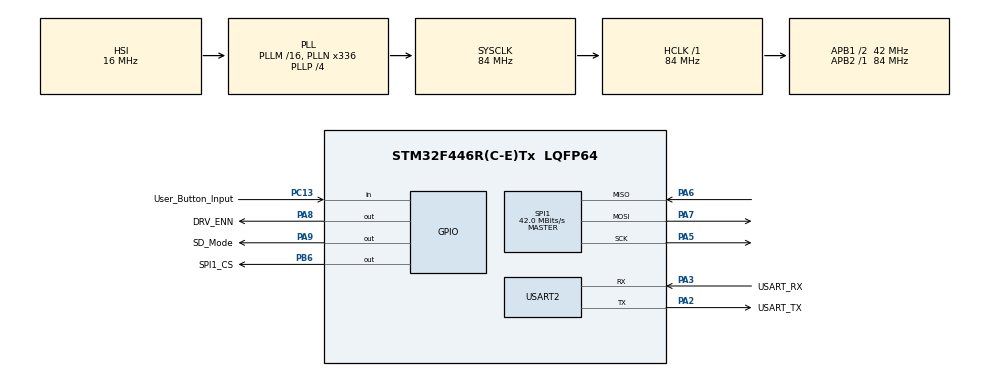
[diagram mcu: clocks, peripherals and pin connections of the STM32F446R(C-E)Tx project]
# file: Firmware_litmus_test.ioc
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Mcu.Family=STM32F4
Mcu.Name=STM32F446R(C-E)Tx
Mcu.Package=LQFP64
NVIC.PriorityGroup=NVIC_PRIORITYGROUP_0
PA13.GPIO_Label=TMS
PA13.Mode=Serial_Wire
PA13.Signal=SYS_JTMS-SWDIO
PA14.GPIO_Label=TCK
PA14.Mode=Serial_Wire
PA14.Signal=SYS_JTCK-SWCLK
PA2.GPIO_Label=USART_TX
PA2.Mode=Asynchronous
PA2.Signal=USART2_TX
PA3.GPIO_Label=USART_RX
PA3.Mode=Asynchronous
PA3.Signal=USART2_RX
PA5.Mode=Full_Duplex_Master
PA5.Signal=SPI1_SCK
PA6.Mode=Full_Duplex_Master
PA6.Signal=SPI1_MISO
PA7.Mode=Full_Duplex_Master
PA7.Signal=SPI1_MOSI
PA8.GPIO_Label=DRV_ENN
PA8.Signal=GPIO_Output
PA9.GPIO_Label=SD_Mode
PA9.Signal=GPIO_Output
PB3.GPIO_Label=SWO
PB3.Signal=SYS_JTDO-SWO
PB6.GPIO_Label=SPI1_CS
PB6.Signal=GPIO_Output
PC13.GPIO_Label=User_Button_Input
PC13.Signal=GPIO_Input
PC14-OSC32_IN.Mode=LSE-External-Oscillator
PC14-OSC32_IN.Signal=RCC_OSC32_IN
PC15-OSC32_OUT.Mode=LSE-External-Oscillator
PC15-OSC32_OUT.Signal=RCC_OSC32_OUT
PH0-OSC_IN.Mode=HSE-External-Oscillator
PH0-OSC_IN.Signal=RCC_OSC_IN
PH1-OSC_OUT.Mode=HSE-External-Oscillator
PH1-OSC_OUT.Signal=RCC_OSC_OUT
ProjectManager.HeapSize=0x200
ProjectManager.StackSize=0x400
ProjectManager.TargetToolchain=STM32CubeIDE
RCC.48MHZClocksFreq_Value=84000000
RCC.AHBFreq_Value=84000000
RCC.APB1CLKDivider=RCC_HCLK_DIV2
RCC.APB1Freq_Value=42000000
RCC.APB1TimFreq_Value=84000000
RCC.APB2Freq_Value=84000000
RCC.APB2TimFreq_Value=84000000
RCC.CortexFreq_Value=84000000
RCC.FLatency-AdvancedSettings=FLASH_LATENCY_2
RCC.HCLKFreq_Value=84000000
RCC.HSE_VALUE=8000000
RCC.HSI_VALUE=16000000
RCC.PLLN=336
RCC.PLLP=RCC_PLLP_DIV4
RCC.SYSCLKFreq_VALUE=84000000
RCC.SYSCLKSource=RCC_SYSCLKSOURCE_PLLCLK
RCC.USBFreq_Value=168000000
RCC.VCOOutputFreq_Value=336000000
SPI1.CLKPhase=SPI_PHASE_2EDGE
SPI1.CLKPolarity=SPI_POLARITY_HIGH
SPI1.CalculateBaudRate=42.0 MBits/s
SPI1.Direction=SPI_DIRECTION_2LINES
SPI1.Mode=SPI_MODE_MASTER
SPI1.VirtualType=VM_MASTER
USART2.VirtualMode=VM_ASYNC
board=NUCLEO-F446RE

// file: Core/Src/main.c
/* USER CODE BEGIN Header */
/**
  ******************************************************************************
  * @file           : main.c
  * @brief          : Main program body
  ******************************************************************************
  * @attention
  *
  * Copyright (c) 2025 STMicroelectronics.
  * All rights reserved.
  *
  * This software is licensed under terms that can be found in the LICENSE file
  * in the root directory of this software component.
  * If no LICENSE file comes with this software, it is provided AS-IS.
  *
  ******************************************************************************
  */
/* USER CODE END Header */
#include "main.h"

/* USER CODE BEGIN Includes */
#include "api_motor_driver_tmc5160.h"
#include "api_motor_driver.h"
/* USER CODE END Includes */

SPI_HandleTypeDef hspi1;

UART_HandleTypeDef huart2;

/* USER CODE BEGIN PV */

typedef enum {
    	e_app_motor_state_idle = 0,
    	e_app_motor_state_initialize_motor,
	e_app_motor_state_check_button,
    	e_app_motor_state_set_mode,
	e_app_motor_state_set_velocity_1_300_CW,
    	e_app_motor_state_set_velocity_2_500_CCW,
	e_app_motor_state_set_velocity_3_0,
	e_app_motor_state_error
} e_app_motor_state_t;

static const s_api_motor_driver_t * p_motor_driver = NULL;
static s_api_motor_driver_tmc5160_t g_motor_driver;
static int current_speed_step = 0; // 0 = stop, 1 = 300rpm CW, 2 = 500rpm CCW
static GPIO_PinState last_button_state = GPIO_PIN_SET;
/* USER CODE END PV */

void SystemClock_Config(void);
static void MX_GPIO_Init(void);
static void MX_USART2_UART_Init(void);
static void MX_SPI1_Init(void);

int main(void)
{

  /* MCU Configuration--------------------------------------------------------*/

  /* Reset of all peripherals, Initializes the Flash interface and the Systick. */
  HAL_Init();

  /* Configure the system clock */
  SystemClock_Config();

  /* Initialize all configured peripherals */
  MX_GPIO_Init();
  MX_USART2_UART_Init();
  MX_SPI1_Init();
  /* USER CODE BEGIN 2 */
  // Construct the motor driver instance
  p_motor_driver = api_motor_driver_tmc5160_try_construct(&g_motor_driver,
                                                          &hspi1,
														  e_api_motor_driver_tmc5160_IHOLD_1_32,
														  e_api_motor_driver_tmc5160_IRUN_32_32,
														  e_api_motor_driver_tmc5160_IHOLDDELAY_10);

  /* USER CODE END 2 */

  /* Infinite loop */
  while (1)
  {
     Firmware_Litmus_Test();
  }
}

void SystemClock_Config(void)
{
  RCC_OscInitTypeDef RCC_OscInitStruct = {0};
  RCC_ClkInitTypeDef RCC_ClkInitStruct = {0};

  /** Configure the main internal regulator output voltage
  */
  __HAL_RCC_PWR_CLK_ENABLE();
  __HAL_PWR_VOLTAGESCALING_CONFIG(PWR_REGULATOR_VOLTAGE_SCALE3);

  /** Initializes the RCC Oscillators according to the specified parameters
  * in the RCC_OscInitTypeDef structure.
  */
  RCC_OscInitStruct.OscillatorType = RCC_OSCILLATORTYPE_HSI;
  RCC_OscInitStruct.HSIState = RCC_HSI_ON;
  RCC_OscInitStruct.HSICalibrationValue = RCC_HSICALIBRATION_DEFAULT;
  RCC_OscInitStruct.PLL.PLLState = RCC_PLL_ON;
  RCC_OscInitStruct.PLL.PLLSource = RCC_PLLSOURCE_HSI;
  RCC_OscInitStruct.PLL.PLLM = 16;
  RCC_OscInitStruct.PLL.PLLN = 336;
  RCC_OscInitStruct.PLL.PLLP = RCC_PLLP_DIV4;
  RCC_OscInitStruct.PLL.PLLQ = 2;
  RCC_OscInitStruct.PLL.PLLR = 2;
  if (HAL_RCC_OscConfig(&RCC_OscInitStruct) != HAL_OK)
  {
    Error_Handler();
  }

  /** Initializes the CPU, AHB and APB buses clocks
  */
  RCC_ClkInitStruct.ClockType = RCC_CLOCKTYPE_HCLK|RCC_CLOCKTYPE_SYSCLK
                              |RCC_CLOCKTYPE_PCLK1|RCC_CLOCKTYPE_PCLK2;
  RCC_ClkInitStruct.SYSCLKSource = RCC_SYSCLKSOURCE_PLLCLK;
  RCC_ClkInitStruct.AHBCLKDivider = RCC_SYSCLK_DIV1;
  RCC_ClkInitStruct.APB1CLKDivider = RCC_HCLK_DIV2;
  RCC_ClkInitStruct.APB2CLKDivider = RCC_HCLK_DIV1;

  if (HAL_RCC_ClockConfig(&RCC_ClkInitStruct, FLASH_LATENCY_2) != HAL_OK)
  {
    Error_Handler();
  }
}

static void MX_SPI1_Init(void)
{

  /* SPI1 parameter configuration*/
  hspi1.Instance = SPI1;
  hspi1.Init.Mode = SPI_MODE_MASTER;
  hspi1.Init.Direction = SPI_DIRECTION_2LINES;
  hspi1.Init.DataSize = SPI_DATASIZE_8BIT;
  hspi1.Init.CLKPolarity = SPI_POLARITY_HIGH;
  hspi1.Init.CLKPhase = SPI_PHASE_2EDGE;
  hspi1.Init.NSS = SPI_NSS_SOFT;
  hspi1.Init.BaudRatePrescaler = SPI_BAUDRATEPRESCALER_2;
  hspi1.Init.FirstBit = SPI_FIRSTBIT_MSB;
  hspi1.Init.TIMode = SPI_TIMODE_DISABLE;
  hspi1.Init.CRCCalculation = SPI_CRCCALCULATION_DISABLE;
  hspi1.Init.CRCPolynomial = 10;
  if (HAL_SPI_Init(&hspi1) != HAL_OK)
  {
    Error_Handler();
  }

}

static void MX_USART2_UART_Init(void)
{

  huart2.Instance = USART2;
  huart2.Init.BaudRate = 115200;
  huart2.Init.WordLength = UART_WORDLENGTH_8B;
  huart2.Init.StopBits = UART_STOPBITS_1;
  huart2.Init.Parity = UART_PARITY_NONE;
  huart2.Init.Mode = UART_MODE_TX_RX;
  huart2.Init.HwFlowCtl = UART_HWCONTROL_NONE;
  huart2.Init.OverSampling = UART_OVERSAMPLING_16;
  if (HAL_UART_Init(&huart2) != HAL_OK)
  {
    Error_Handler();
  }

}

static void MX_GPIO_Init(void)
{
  GPIO_InitTypeDef GPIO_InitStruct = {0};

  /* GPIO Ports Clock Enable */
  __HAL_RCC_GPIOC_CLK_ENABLE();
  __HAL_RCC_GPIOH_CLK_ENABLE();
  __HAL_RCC_GPIOA_CLK_ENABLE();
  __HAL_RCC_GPIOB_CLK_ENABLE();

  /*Configure GPIO pin Output Level */
  HAL_GPIO_WritePin(GPIOA, DRV_ENN_Pin|SD_Mode_Pin, GPIO_PIN_RESET);

  /*Configure GPIO pin Output Level */
  HAL_GPIO_WritePin(SPI1_CS_GPIO_Port, SPI1_CS_Pin, GPIO_PIN_RESET);

  /*Configure GPIO pin : User_Button_Input_Pin */
  GPIO_InitStruct.Pin = User_Button_Input_Pin;
  GPIO_InitStruct.Mode = GPIO_MODE_INPUT;
  GPIO_InitStruct.Pull = GPIO_NOPULL;
  HAL_GPIO_Init(User_Button_Input_GPIO_Port, &GPIO_InitStruct);

  /*Configure GPIO pins : DRV_ENN_Pin SD_Mode_Pin */
  GPIO_InitStruct.Pin = DRV_ENN_Pin|SD_Mode_Pin;
  GPIO_InitStruct.Mode = GPIO_MODE_OUTPUT_PP;
  GPIO_InitStruct.Pull = GPIO_NOPULL;
  GPIO_InitStruct.Speed = GPIO_SPEED_FREQ_LOW;
  HAL_GPIO_Init(GPIOA, &GPIO_InitStruct);

  /*Configure GPIO pin : SPI1_CS_Pin */
  GPIO_InitStruct.Pin = SPI1_CS_Pin;
  GPIO_InitStruct.Mode = GPIO_MODE_OUTPUT_PP;
  GPIO_InitStruct.Pull = GPIO_NOPULL;
  GPIO_InitStruct.Speed = GPIO_SPEED_FREQ_LOW;
  HAL_GPIO_Init(SPI1_CS_GPIO_Port, &GPIO_InitStruct);

}

/* USER CODE BEGIN 4 */
HAL_StatusTypeDef Firmware_Litmus_Test(void)
{
    HAL_StatusTypeDef status = HAL_BUSY;
    static e_app_motor_state_t app_state = e_app_motor_state_idle;

    switch (app_state)
    {
        case e_app_motor_state_idle:
            app_state = e_app_motor_state_initialize_motor;
        case e_app_motor_state_initialize_motor:
            status = api_motor_driver_initialize(p_motor_driver);
            if (HAL_OK == status)
            {
            	app_state = e_app_motor_state_check_button;
            }
            else if (HAL_ERROR == status)
            {
            	app_state = e_app_motor_state_error;
            }
            else
            {
            	// It will stay in the same state
            }
            break;
        case e_app_motor_state_check_button:
            GPIO_PinState button_state = HAL_GPIO_ReadPin(User_Button_Input_GPIO_Port, User_Button_Input_Pin);
            if (button_state == BUTTON_PRESSED && last_button_state == GPIO_PIN_SET) // falling edge
            {
                current_speed_step = (current_speed_step + 1) % 3;
                app_state = e_app_motor_state_set_mode;
            }

            last_button_state = button_state;
            break;
        case e_app_motor_state_set_mode:
            if (current_speed_step == 1)
            {
            	app_state = e_app_motor_state_set_velocity_1_300_CW;
            }
            else if (current_speed_step == 2)
            {
            	app_state = e_app_motor_state_set_velocity_2_500_CCW;
            }
            else
            {
            	app_state = e_app_motor_state_set_velocity_3_0;
            }
            break;
        case e_app_motor_state_set_velocity_1_300_CW:
        	 status = api_motor_driver_set_velocity(p_motor_driver, 300, e_api_motor_driver_motor_direction_clockwise);
        	 if (HAL_OK == status)
        	 {
        		 app_state = e_app_motor_state_check_button;
        	 }
        	 else if (HAL_ERROR == status)
        	 {
        		 app_state = e_app_motor_state_error;
        	 }
        	 else
        	 {
        		 // It will stay in the same state
        	 }
        	 break;
        case e_app_motor_state_set_velocity_2_500_CCW:
        	 status = api_motor_driver_set_velocity(p_motor_driver, 500, e_api_motor_driver_motor_direction_counter_clockwise);
        	 if (HAL_OK == status)
        	 {
        		 app_state = e_app_motor_state_check_button;
        	 }
        	 else if (HAL_ERROR == status)
        	 {
        		 app_state = e_app_motor_state_error;
        	 }
        	 else
        	 {
        		 // It will stay in the same state
        	 }
        	 break;
        case e_app_motor_state_set_velocity_3_0:
        	 status = api_motor_driver_set_velocity(p_motor_driver, 0, e_api_motor_driver_motor_direction_clockwise);  // direction doesnot matter
        	 if (HAL_OK == status)
        	 {
        		 app_state = e_app_motor_state_check_button;
        	 }
        	 else if (HAL_ERROR == status)
        	 {
        		 app_state = e_app_motor_state_error;
        	 }
        	 else
        	 {
        		 // It will stay in the same state
        	 }
        	 break;

        case e_app_motor_state_error:
        	app_state = e_app_motor_state_idle;
        	status = HAL_ERROR;
        	break;
        default:
        	app_state = e_app_motor_state_idle;
        	status = HAL_ERROR;
            break;
    }
    return status;
}
/* USER CODE END 4 */

void Error_Handler(void)
{
  __disable_irq();
  while (1)
  {
  }
}
